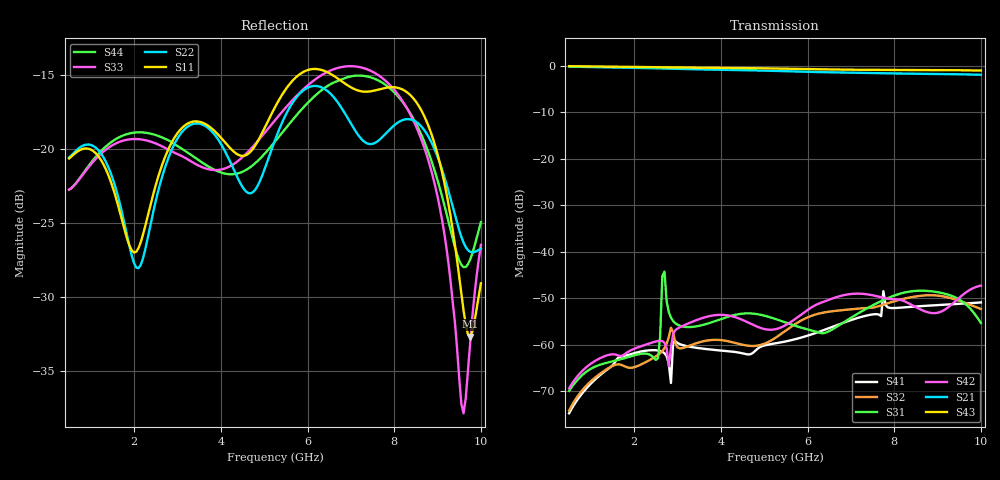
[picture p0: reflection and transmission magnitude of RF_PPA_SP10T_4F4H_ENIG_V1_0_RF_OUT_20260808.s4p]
! Touchstone file exported from HFSS 3D Layout Design 2026.1.0
!  File:  D:/Work/ADS/SIMADS_EM_PAR/SP8T/RF-PPA-SP10T-4F4H-ENIG-V1.0.aedt
!  Generated:  12:16:49 AM Aug  8, 2026
!  Design:  RF-PPA-SP10T-4F4H-ENIG-V1.0_RF_OUT
!  Project:  RF-PPA-SP10T-4F4H-ENIG-V1.0
! Variables:
!  BendModel = 0
!  d_Base_D = 6.25mm
!  d_Base_L = 8mm
!  d_Feet_L = 4mm
!  d_Feet_W = 1mm
!  d_Front_L = 1.5mm
!  d_Front_W = 6.5mm
!  d_Hole_D = 1.25mm
!  d_PTFE_D = 4.2mm
!  d_Pin_D = 0.95mm
!  d_Pin_P = 1.7mm
# GHz S MA R 50.000000
! Terminal data exported
! Port[1] = Port1
! Port[2] = Port2
! Port[3] = Port3
! Port[4] = Port4
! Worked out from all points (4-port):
!   191 points, 500 MHz to 10 GHz, reference 50 ohm
!   strongest paths, dB at 500 MHz, 2.85 GHz, 5.25 GHz, 7.65 GHz, 10 GHz:
!     S43: -0.1, -0.4, -0.6, -0.9, -1.0
!     S21: -0.2, -0.7, -1.1, -1.6, -1.9
!     S42: -69.4, -60.6, -56.7, -49.7, -47.3
!     S31: -69.9, -54.2, -54.4, -50.8, -55.3
!     S32: -74.2, -56.3, -58.6, -51.7, -52.3
!     S41: -74.7, -68.2, -59.7, -53.5, -50.9
!   lowest |S11| = -32.7 dB at 9.75 GHz (marker M1), VSWR 1.05, Z = 51.2 + j2.01 ohm
!   |S11| at or under -10 dB: start of sweep to end of sweep
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0.5  0.09315 -133.2  0.9794 -46.2  0.0003186 28.6  0.0001831 -128.3
     0.9794 -46.2  0.09379 -142.9  0.000196 -115.6  0.000339 80.7
     0.0003186 28.6  0.000196 -115.6  0.07312 -122.1  0.9887 -26.8
     0.0001831 -128.3  0.000339 80.7  0.9887 -26.8  0.07303 -114.2
1.85  0.04918 136.8  0.9528 -174.7  0.0007329 -152.5  0.0007724 108.0
      0.9528 -174.7  0.05014 55.3  0.0005694 138.7  0.000833 66.8
      0.0007329 -152.5  0.0005694 138.7  0.1079 155.4  0.9701 -104.0
      0.0007724 108.0  0.000833 66.8  0.9701 -104.0  0.1128 168.3
3.8  0.1174 56.8  0.9087 2.6  0.00175 -88.8  0.0008842 -76.7
     0.9087 2.6  0.1147 122.9  0.001126 36.9  0.002058 48.7
     0.00175 -88.8  0.001126 36.9  0.08521 59.4  0.9521 146.6
     0.0008842 -76.7  0.002058 48.7  0.9521 146.6  0.08605 51.3
6.4  0.1841 -61.7  0.852 119.8  0.001339 -103.8  0.001451 48.9
     0.852 119.8  0.1599 119.0  0.00223 -87.8  0.002932 54.7
     0.001339 -103.8  0.00223 -87.8  0.181 -48.7  0.9136 0.8
     0.001451 48.9  0.002932 54.7  0.9136 0.8  0.1616 -137.9
7.7  0.1602 -106.9  0.8323 -1.7  0.002947 60.7  0.002028 -87.5
     0.8323 -1.7  0.109 -83.1  0.002652 -167.9  0.003237 21.8
     0.002947 60.7  0.002652 -167.9  0.1755 -113.6  0.901 -71.6
     0.002028 -87.5  0.003237 21.8  0.901 -71.6  0.169 146.9
9.75  0.02325 57.5  0.8041 165.7  0.002455 -172.5  0.002798 49.4
      0.8041 165.7  0.045 99.4  0.002691 47.4  0.003899 36.2
      0.002455 -172.5  0.002691 47.4  0.02209 12.2  0.8909 171.9
      0.002798 49.4  0.003899 36.2  0.8909 171.9  0.04224 113.0
10  0.0352 0.5  0.7992 141.9  0.001714 158.8  0.002849 28.5
    0.7992 141.9  0.0461 92.5  0.002423 35.7  0.004321 26.4
    0.001714 158.8  0.002423 35.7  0.04747 -17.6  0.8868 157.5
    0.002849 28.5  0.004321 26.4  0.8868 157.5  0.05671 121.6
